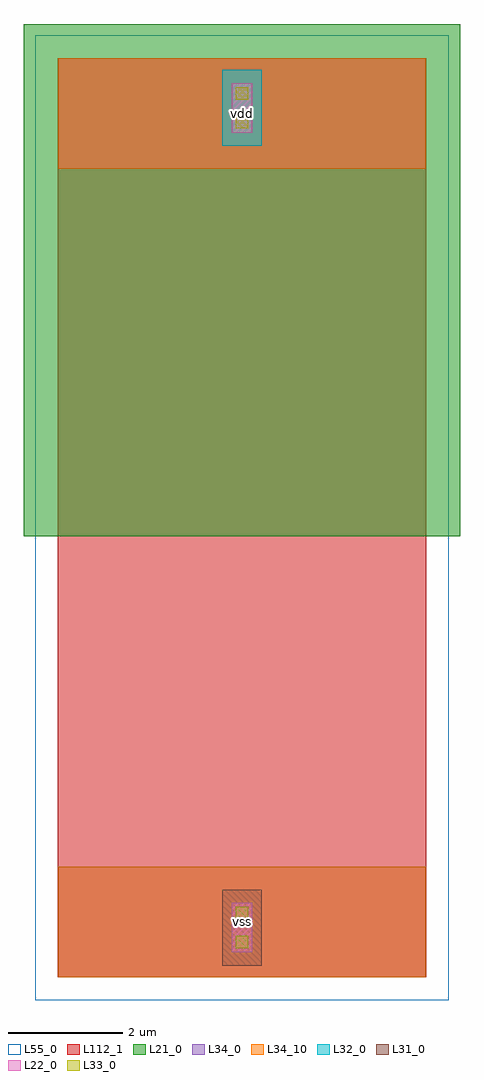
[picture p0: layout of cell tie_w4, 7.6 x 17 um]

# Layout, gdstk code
import gdstk
lib = gdstk.Library(unit=1e-6, precision=1e-09)
def R(c, l, rs):  # rectangles x0, y0, x1, y1
    for r in rs: c.add(gdstk.rectangle(r[:2], r[2:], *l))
L21_0 = (21, 0)
L22_0 = (22, 0)
L31_0 = (31, 0)
L32_0 = (32, 0)
L33_0 = (33, 0)
L34_0 = (34, 0)
L34_10 = (34, 10)
L55_0 = (55, 0)
L112_1 = (112, 1)

tie_w4 = lib.new_cell('tie_w4')
R(tie_w4, L21_0, [(-0.6,7.68,7,16.6)])
R(tie_w4, L22_0, [(3.02,0.43,3.38,1.29), (3.02,14.71,3.38,15.57)])
R(tie_w4, L31_0, [(2.86,0.2,3.54,1.52)])
R(tie_w4, L32_0, [(2.86,14.48,3.54,15.8)])
R(tie_w4, L33_0, [(3.09,0.5,3.31,0.72), (3.09,1,3.31,1.22), (3.09,14.78,3.31,15), (3.09,15.28,3.31,15.5)])
R(tie_w4, L34_0, [(0,0,6.4,1.92), (0,14.08,6.4,16)])
R(tie_w4, L34_10, [(0,0,6.4,1.92), (0,14.08,6.4,16)])
R(tie_w4, L55_0, [(-0.4,-0.4,6.8,16.4)])
R(tie_w4, L112_1, [(-0.005,-0.005,6.405,16.005)])
tie_w4.add(gdstk.Label('vdd', (3.2,15.04), layer=34, texttype=10))
tie_w4.add(gdstk.Label('vss', (3.2,0.96), layer=34, texttype=10))

lib.write_gds('tie_w4.gds')
